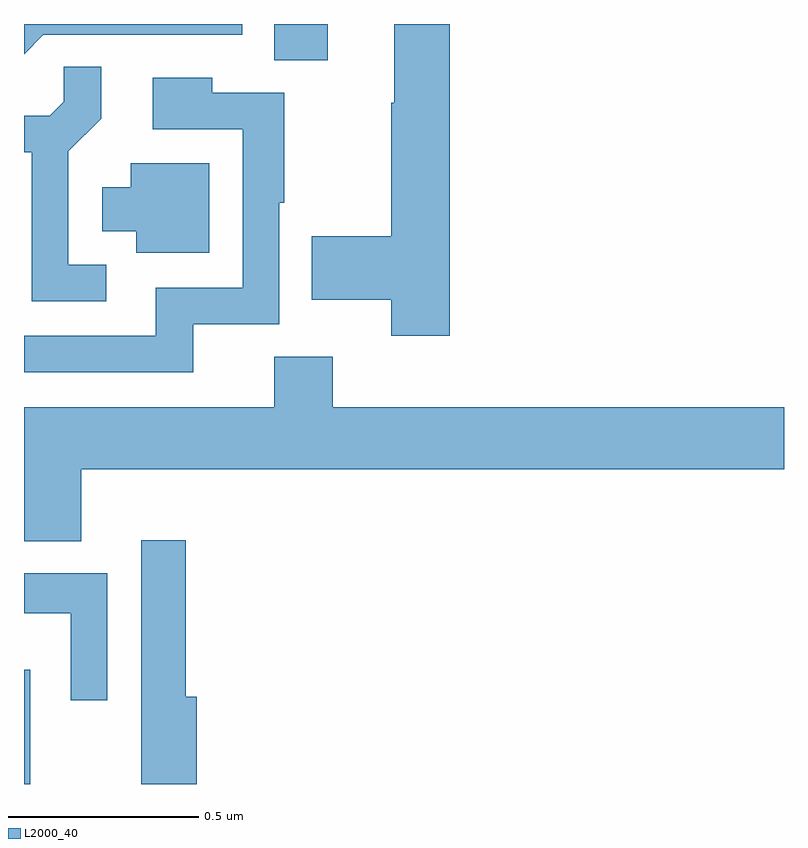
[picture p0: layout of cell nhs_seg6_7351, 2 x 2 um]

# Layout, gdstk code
import gdstk
lib = gdstk.Library(unit=1e-6, precision=1e-09)
def R(c, l, rs):  # rectangles x0, y0, x1, y1
    for r in rs: c.add(gdstk.rectangle(r[:2], r[2:], *l))
def P(c, l, *ps):  # polygons
    for p in ps: c.add(gdstk.Polygon(p, *l))
L2000_40 = (2000, 40)

nhs_seg6_7351 = lib.new_cell('nhs_seg6_7351')
R(nhs_seg6_7351, L2000_40, [(207,954.5,207.016,954.801), (207.659,956.404,207.799,956.5)])
P(nhs_seg6_7351, L2000_40, [(207.051,956.472),(207.574,956.472),(207.574,956.5),(207,956.5),(207,956.421)],
  [(208.121,956.5),(207.974,956.5),(207.974,956.293),(207.967,956.293),(207.967,955.941),(207.757,955.941),(207.757,955.775),(207.967,955.775),(207.967,955.68),(208.121,955.68)],
  [(207.217,955.866),(207.117,955.866),(207.117,956.165),(207.203,956.251),(207.203,956.387),(207.105,956.387),(207.105,956.296),(207.068,956.259),(207,956.259),(207,956.162),(207.02,956.162),(207.02,955.77),(207.217,955.77)],
  [(207.446,955.71),(207.672,955.71),(207.672,956.029),(207.685,956.029),(207.685,956.319),(207.495,956.319),(207.495,956.359),(207.339,956.359),(207.339,956.223),(207.576,956.223),(207.576,955.806),(207.347,955.806),(207.347,955.68),(207,955.68),(207,955.584),(207.446,955.584)],
  [(207.487,956.134),(207.281,956.134),(207.281,956.071),(207.206,956.071),(207.206,955.955),(207.296,955.955),(207.296,955.898),(207.487,955.898)],
  [(207.151,955.328),(209,955.328),(209,955.492),(207.812,955.492),(207.812,955.625),(207.659,955.625),(207.659,955.492),(207,955.492),(207,955.139),(207.151,955.139)],
  [(207.455,954.73),(207.425,954.73),(207.425,955.141),(207.309,955.141),(207.309,954.626),(207.308,954.626),(207.308,954.5),(207.455,954.5)],
  [(207.219,955.054),(207,955.054),(207,954.95),(207.123,954.95),(207.123,954.72),(207.219,954.72)])

lib.write_gds('nhs_seg6_7351.gds')
